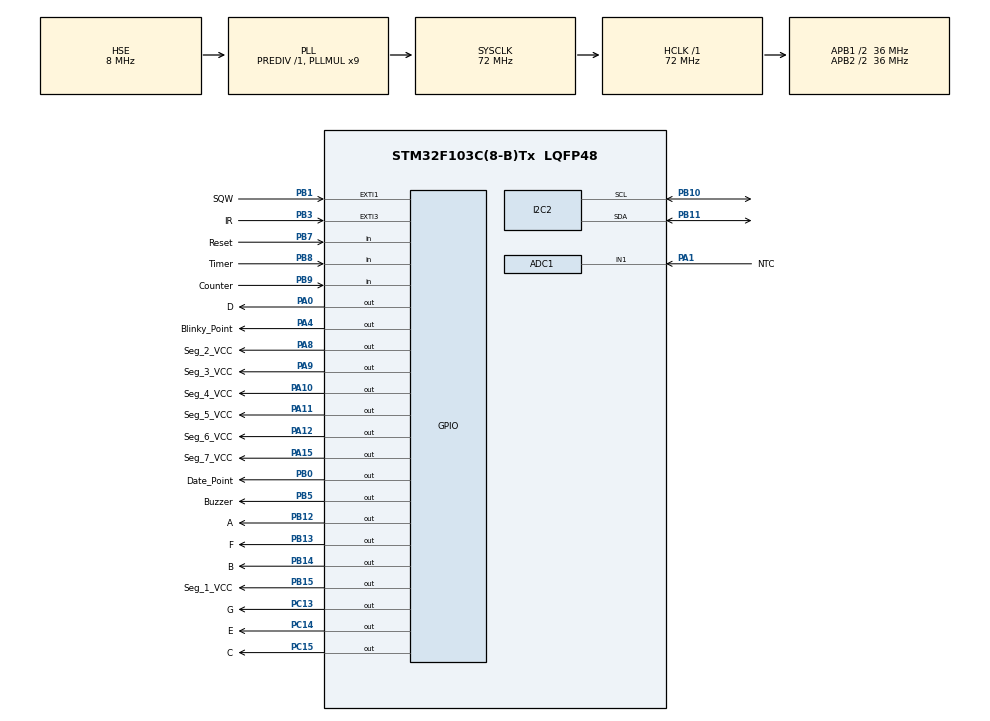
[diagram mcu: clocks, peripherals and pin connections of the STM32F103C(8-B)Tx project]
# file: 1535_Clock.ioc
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ADC1.Channel-0\#ChannelRegularConversion=ADC_CHANNEL_1
ADC1.NbrOfConversionFlag=1
ADC1.Rank-0\#ChannelRegularConversion=1
ADC1.SamplingTime-0\#ChannelRegularConversion=ADC_SAMPLETIME_1CYCLE_5
ADC1.master=1
Mcu.Family=STM32F1
Mcu.Name=STM32F103C(8-B)Tx
Mcu.Package=LQFP48
NVIC.EXTI1_IRQn=true\:0\:0\:false\:false\:true\:true\:true\:true
NVIC.EXTI3_IRQn=true\:0\:0\:false\:false\:true\:true\:true\:true
NVIC.PriorityGroup=NVIC_PRIORITYGROUP_4
NVIC.TIM2_IRQn=true\:0\:0\:false\:false\:true\:true\:true\:true
NVIC.TIM3_IRQn=true\:0\:0\:false\:false\:true\:true\:true\:true
NVIC.TIM4_IRQn=true\:0\:0\:false\:false\:true\:true\:true\:true
PA0-WKUP.GPIO_Label=D
PA0-WKUP.GPIO_Speed=GPIO_SPEED_FREQ_HIGH
PA0-WKUP.Signal=GPIO_Output
PA1.GPIO_Label=NTC
PA1.Signal=SharedAnalog_PA1
PA10.GPIO_Label=Seg_4_VCC
PA10.GPIO_Speed=GPIO_SPEED_FREQ_HIGH
PA10.Signal=GPIO_Output
PA11.GPIO_Label=Seg_5_VCC
PA11.GPIO_Speed=GPIO_SPEED_FREQ_HIGH
PA11.Signal=GPIO_Output
PA12.GPIO_Label=Seg_6_VCC
PA12.GPIO_Speed=GPIO_SPEED_FREQ_HIGH
PA12.Signal=GPIO_Output
PA13.Mode=Serial_Wire
PA13.Signal=SYS_JTMS-SWDIO
PA14.Mode=Serial_Wire
PA14.Signal=SYS_JTCK-SWCLK
PA15.GPIO_Label=Seg_7_VCC
PA15.GPIO_Speed=GPIO_SPEED_FREQ_HIGH
PA15.Signal=GPIO_Output
PA4.GPIO_Label=Blinky_Point
PA4.Signal=GPIO_Output
PA8.GPIO_Label=Seg_2_VCC
PA8.GPIO_Speed=GPIO_SPEED_FREQ_HIGH
PA8.Signal=GPIO_Output
PA9.GPIO_Label=Seg_3_VCC
PA9.GPIO_Speed=GPIO_SPEED_FREQ_HIGH
PA9.Signal=GPIO_Output
PB0.GPIO_Label=Date_Point
PB0.Signal=GPIO_Output
PB1.GPIO_Label=SQW
PB1.Signal=GPXTI1
PB10.Mode=I2C
PB10.Signal=I2C2_SCL
PB11.Mode=I2C
PB11.Signal=I2C2_SDA
PB12.GPIO_Label=A
PB12.GPIO_Speed=GPIO_SPEED_FREQ_HIGH
PB12.Signal=GPIO_Output
PB13.GPIO_Label=F
PB13.GPIO_Speed=GPIO_SPEED_FREQ_HIGH
PB13.Signal=GPIO_Output
PB14.GPIO_Label=B
PB14.GPIO_Speed=GPIO_SPEED_FREQ_HIGH
PB14.Signal=GPIO_Output
PB15.GPIO_Label=Seg_1_VCC
PB15.GPIO_Speed=GPIO_SPEED_FREQ_HIGH
PB15.Signal=GPIO_Output
PB3.GPIO_Label=IR
PB3.GPIO_ModeDefaultEXTI=GPIO_MODE_IT_FALLING
PB3.Signal=GPXTI3
PB5.GPIO_Label=Buzzer
PB5.Signal=GPIO_Output
PB7.GPIO_Label=Reset
PB7.Signal=GPIO_Input
PB8.GPIO_Label=Timer
PB8.Signal=GPIO_Input
PB9.GPIO_Label=Counter
PB9.Signal=GPIO_Input
PC13-TAMPER-RTC.GPIO_Label=G
PC13-TAMPER-RTC.GPIO_Speed=GPIO_SPEED_FREQ_HIGH
PC13-TAMPER-RTC.Signal=GPIO_Output
PC14-OSC32_IN.GPIO_Label=E
PC14-OSC32_IN.GPIO_Speed=GPIO_SPEED_FREQ_HIGH
PC14-OSC32_IN.Signal=GPIO_Output
PC15-OSC32_OUT.GPIO_Label=C
PC15-OSC32_OUT.GPIO_Speed=GPIO_SPEED_FREQ_HIGH
PC15-OSC32_OUT.Signal=GPIO_Output
PD0-OSC_IN.Mode=HSE-External-Oscillator
PD0-OSC_IN.Signal=RCC_OSC_IN
PD1-OSC_OUT.Mode=HSE-External-Oscillator
PD1-OSC_OUT.Signal=RCC_OSC_OUT
ProjectManager.HeapSize=0x200
ProjectManager.StackSize=0x400
ProjectManager.TargetToolchain=STM32CubeIDE
RCC.ADCPresc=RCC_ADCPCLK2_DIV4
RCC.AHBFreq_Value=72000000
RCC.APB1CLKDivider=RCC_HCLK_DIV2
RCC.APB1Freq_Value=36000000
RCC.APB1TimFreq_Value=72000000
RCC.APB2CLKDivider=RCC_HCLK_DIV2
RCC.APB2Freq_Value=36000000
RCC.APB2TimFreq_Value=72000000
RCC.HCLKFreq_Value=72000000
RCC.PLLMUL=RCC_PLL_MUL9
RCC.PLLSourceVirtual=RCC_PLLSOURCE_HSE
RCC.SYSCLKFreq_VALUE=72000000
RCC.SYSCLKSource=RCC_SYSCLKSOURCE_PLLCLK
RCC.USBFreq_Value=72000000
SH.SharedAnalog_PA1.0=GPIO_Analog
SH.SharedAnalog_PA1.1=ADC1_IN1,IN1
TIM2.CounterMode=TIM_COUNTERMODE_CENTERALIGNED3
TIM2.Period=499
TIM2.Prescaler=72-1
TIM3.Period=50000
TIM3.Prescaler=72-1
TIM4.Prescaler=71
VP_TIM2_VS_ClockSourceINT.Mode=Internal
VP_TIM3_VS_ClockSourceINT.Mode=Internal
VP_TIM4_VS_ClockSourceINT.Mode=Internal
board=custom

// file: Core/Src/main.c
/* USER CODE BEGIN Header */
/**
 ******************************************************************************
 * @file           : main.c
 * @brief          : Main program body
 ******************************************************************************
 * @attention
 *
 * Copyright (c) 2025 STMicroelectronics.
 * All rights reserved.
 *
 * This software is licensed under terms that can be found in the LICENSE file
 * in the root directory of this software component.
 * If no LICENSE file comes with this software, it is provided AS-IS.
 *
 ******************************************************************************
 */
/* USER CODE END Header */
#include "main.h"
#include "adc.h"
#include "i2c.h"
#include "tim.h"
#include "gpio.h"

/* USER CODE BEGIN Includes */
#include "DS3231.h"
#include "GeneralRemoote.h"
#include "Initialization.h"
#include "NTC.h"

/* USER CODE END Includes */

void SystemClock_Config(void);

int main(void)
{

  /* MCU Configuration--------------------------------------------------------*/

  /* Reset of all peripherals, Initializes the Flash interface and the Systick. */
  HAL_Init();

  /* Configure the system clock */
  SystemClock_Config();

  /* Initialize all configured peripherals */
  MX_GPIO_Init();
  MX_I2C2_Init();
  MX_TIM2_Init();
  MX_TIM3_Init();
  MX_ADC1_Init();
  MX_TIM4_Init();
  /* USER CODE BEGIN 2 */
   HAL_TIM_Base_Start_IT(&htim2);
  HAL_TIM_Base_Start_IT(&htim3);
  HAL_TIM_Base_Start_IT(&htim4);
  DS3231_ReadTime(&hi2c2,&time_Hour,&time_Minute,&time_Second);
  for (int i = 0; i < 10; i++)
  {
    Segment_Set(0,i);
    Segment_Set(1,i);
    Segment_Set(2,i);
    Segment_Set(3,i);
    Segment_Set(4,i);
    Segment_Set(5,i);
    Segment_Set(6,'N');
    HAL_Delay(200);
    HAL_GPIO_WritePin(blinky_Point,HIGH);
    HAL_GPIO_WritePin(date_Point,LOW);
  }
   Buzz(20);
  HAL_Delay(100);
  Buzz(20);

  /* USER CODE END 2 */

  /* Infinite loop */
  while (1)
  {

    /* USER CODE BEGIN 3 */

    if (work_Mode == MODE_NORMAL)
    {
      HAL_GPIO_WritePin(date_Point, LOW);
      if (tmpShow)
      {
        if (time_TmpShow < 2)
        {
          if (tempreture_read == 0)
          {
            temperature = NTC_Read();
            tempreture_read = 1;
          }
          if (tempreture_read == 1)
          {
            Segment_Set(0, temperature / 10);
            Segment_Set(1, temperature % 10);
            Segment_Set(2, 'o');
            Segment_Set(3, 'C');
            Segment_Set(4, 'N');
            Segment_Set(5, 'N');
            HAL_GPIO_WritePin(blinky_Point, LOW);
          }
        }
        else
        {
          tempreture_read = 0;
        }
      }
      if (!tempreture_read)
      {
        if (PM_Mode)
        {
          if (time_Hour > 12)
          {
            Segment_Set(0, (time_Hour - 12) / 10);
            Segment_Set(1, (time_Hour - 12) % 10);
          }
          else
          {
            Segment_Set(0, time_Hour / 10);
            Segment_Set(1, time_Hour % 10);
          }
        }
        else
        {
          Segment_Set(0, time_Hour / 10);
          Segment_Set(1, time_Hour % 10);
        }
        Segment_Set(2, time_Minute / 10);
        Segment_Set(3, time_Minute % 10);
        Segment_Set(4, time_Second / 10);
        Segment_Set(5, time_Second % 10);
        HAL_GPIO_WritePin(blinky_Point, HIGH);
      }
      Segment_Set(6, 'N');

      irRemote = Ir_GetData();
      if (irRemote != 0)
      {
        Haamin_Remote(irRemote, work_Mode);
      }
    }
    else if (work_Mode == MODE_OFF)
    {
      time_Out = 0;
      Segment_Set(0, 'N');
      Segment_Set(1, 'N');
      Segment_Set(2, 'N');
      Segment_Set(3, 'N');
      Segment_Set(4, 'N');
      Segment_Set(5, 'N');
      Segment_Set(6, 'N');

      irRemote = Ir_GetData();
      if (irRemote != 0)
      {
        Haamin_Remote(irRemote, work_Mode);
      }
    }
    else if (work_Mode == MENU)
    {
      Segment_Set(0, 'f');
      Segment_Set(1, Condition);
      Segment_Set(2, 'N');
      Segment_Set(3, 'N');
      Segment_Set(4, 'N');
      Segment_Set(5, 'N');
      Segment_Set(6, 'N');
      HAL_GPIO_WritePin(blinky_Point, LOW);

      irRemote = Ir_GetData();
      if (irRemote != 0)
      {
        Haamin_Remote(irRemote, work_Mode);
      }
    }
    else if (work_Mode == TIME_SETTING)
    {
      Segment_Set(6, 'N');
      if (time_Mode == SET_HOUR)
      {

        Segment_Set(2, time_Minute_t / 10);
        Segment_Set(3, time_Minute_t % 10);

        if (time_SecBit)
        {
          Segment_Set(0, timeValue / 10);
          Segment_Set(1, timeValue % 10);
        }
        else
        {
          Segment_Set(0, 'N');
          Segment_Set(1, 'N');
        }
      }
      else if (time_Mode == SET_MIN)
      {
        Segment_Set(0, time_Hour_t / 10);
        Segment_Set(1, time_Hour_t % 10);

        if (time_SecBit)
        {
          Segment_Set(2, timeValue / 10);
          Segment_Set(3, timeValue % 10);
        }
        else
        {
          Segment_Set(2, 'N');
          Segment_Set(3, 'N');
        }
      }

      irRemote = Ir_GetData();
      if (irRemote != 0)
      {
        Haamin_Remote(irRemote, work_Mode);
      }
    }
    else if (work_Mode == UP_TIMER)
    {
      Segment_Set(6, 'S');
      if (timer_Mode == SETTING)
      {
        Segment_Set(0, 'U');
        Segment_Set(1, 'P');
        Segment_Set(4, upTime_Second / 10);
        Segment_Set(5, upTime_Second % 10);
        if (time_SecBit)
        {
          Segment_Set(2, timer_Value / 10);
          Segment_Set(3, timer_Value % 10);
        }
        else
        {
          Segment_Set(2, 'N');
          Segment_Set(3, 'N');
        }

        irRemote = Ir_GetData();
        if (irRemote != 0)
        {
          Haamin_Remote(irRemote, work_Mode);
        }
      }

      else if (timer_Mode == MAIN_FUNCTION)
      {
        time_Out = 0;
        if (timer_StartUp)
        {
          Segment_Set(0, 'N');
          Segment_Set(1, 'N');
          Segment_Set(2, 'N');
          Segment_Set(3, 'N');
          Segment_Set(4, timer_TimeStarting / 10);
          Segment_Set(5, timer_TimeStarting % 10);
          HAL_GPIO_WritePin(blinky_Point, LOW);
        }
        else
        {
          Segment_Set(0, 'U');
          Segment_Set(1, 'P');
          Segment_Set(2, upTime_Minute / 10);
          Segment_Set(3, upTime_Minute % 10);
          Segment_Set(4, upTime_Second / 10);
          Segment_Set(5, upTime_Second % 10);
          HAL_GPIO_WritePin(blinky_Point, HIGH);
        }

        if (time_SecBit)
        {
          time_SecBit = 0;
          if ((timer_Run == 1) || (mix_Flag))
          {
            if (mix_Flag)
            {
              mix_Flag = 0;
              mix_Runnig = 1;
              timer_Run = 1;
              timer_SrUpEn = 1;
              timer_TimeStarting = 11;
            }
            if (timer_SrUpEn)
            {
              timer_StartUp = 1;
              timer_TimeStarting--;

              if (timer_TimeStarting < 4)
                Buzz(100);
              if (timer_TimeStarting < 1)
              {
                timer_SrUpEn = 0;
                timer_StartUp = 0;
                upTime_Minute = 0;
                upTime_Second = 0;
                Buzz(100);
                HAL_Delay(100);
                Buzz(100);
              }
            }
            else
            {
              if (++upTime_Second > 59)
              {
                upTime_Second = 0;
                upTime_Minute++;
                if (upTime_Minute == upTime_Minute_Defult)
                {
                  upTime_Minute = 0;
                  upTime_Second = 0;
                  timer_Run = 0;
                  if (mix_Runnig)
                  {
                    work_Mode = MIX;
                    mix_Runnig = 0;
                  }
                  Buzz(100);
                  HAL_Delay(100);
                  Buzz(100);
                  HAL_Delay(100);
                  Buzz(100);
                }
              }
            }
          }
        }
      }

      irRemote = Ir_GetData();
      if (irRemote != 0)
      {
        Haamin_Remote(irRemote, work_Mode);
      }
    }
    else if (work_Mode == DN_TIMER)
    {
      Segment_Set(6, 'u');
      if (timer_Mode == SETTING)
      {
        Segment_Set(0, 'd');
        Segment_Set(1, 'n');
        Segment_Set(4, dnTime_Second / 10);
        Segment_Set(5, dnTime_Second % 10);
        if (time_SecBit)
        {
          Segment_Set(2, timer_Value / 10);
          Segment_Set(3, timer_Value % 10);
        }
        else
        {
          Segment_Set(2, 'N');
          Segment_Set(3, 'N');
        }

        irRemote = Ir_GetData();
        if (irRemote != 0)
        {
          Haamin_Remote(irRemote, work_Mode);
        }
      }

      else if (timer_Mode == MAIN_FUNCTION)
      {
        time_Out = 0;
        if (timer_StartUp)
        {
          Segment_Set(0, 'N');
          Segment_Set(1, 'N');
          Segment_Set(2, 'N');
          Segment_Set(3, 'N');
          Segment_Set(4, timer_TimeStarting / 10);
          Segment_Set(5, timer_TimeStarting % 10);
          HAL_GPIO_WritePin(blinky_Point, LOW);
        }
        else
        {
          Segment_Set(0, 'd');
          Segment_Set(1, 'n');
          Segment_Set(2, dnTime_Minute / 10);
          Segment_Set(3, dnTime_Minute % 10);
          Segment_Set(4, dnTime_Second / 10);
          Segment_Set(5, dnTime_Second % 10);
          HAL_GPIO_WritePin(blinky_Point, HIGH);
        }

        if (time_SecBit)
        {
          time_SecBit = 0;
          if (timer_Run || mix_Flag)
          {
            if (mix_Flag)
            {
              mix_Flag = 0;
              mix_Runnig = 1;
              timer_Run = 1;
              timer_SrUpEn = 1;
              timer_TimeStarting = 11;
            }
            if (timer_SrUpEn)
            {
              timer_StartUp = 1;
              timer_TimeStarting--;

              if (timer_TimeStarting < 4)
                Buzz(100);
              if (timer_TimeStarting < 1)
              {
                timer_SrUpEn = 0;
                timer_StartUp = 0;
                dnTime_Minute = dnTime_Minute_Defult;
                dnTime_Second = 0;
                Buzz(100);
                HAL_Delay(100);
                Buzz(100);
              }
            }
            else
            {
              dnTime_Second--;
              if (dnTime_Second < 0)
              {
                dnTime_Second = 59;
                dnTime_Minute--;
                if (dnTime_Minute < 0)
                {
                  dnTime_Minute = dnTime_Minute_Defult;
                  dnTime_Second = 0;
                  timer_Run = 0;
                  if (mix_Runnig)
                  {
                    mix_Runnig = 0;
                    work_Mode = MIX;
                  }
                  Buzz(100);
                  HAL_Delay(100);
                  Buzz(100);
                  HAL_Delay(100);
                  Buzz(100);
                }
              }
            }
          }
        }
      }

      irRemote = Ir_GetData();
      if (irRemote != 0)
      {
        Haamin_Remote(irRemote, work_Mode);
      }
    }
    else if (work_Mode == TABATA)
    {
      Segment_Set(6, 'M');
      if (cross_Mode == MAIN_FUNCTION)
      {
        time_Out = 0;
        if (cross_StartUp)
        {
          Segment_Set(0, 'N');
          Segment_Set(1, 'N');
          Segment_Set(2, 'N');
          Segment_Set(3, 'N');
          Segment_Set(4, cross_TimeStarting / 10);
          Segment_Set(5, cross_TimeStarting % 10);
          HAL_GPIO_WritePin(blinky_Point, LOW);
        }
        else
        {
          Segment_Set(0, tabata_Round / 10);
          Segment_Set(1, tabata_Round % 10);
          Segment_Set(2, tabata_Act / 10);
          Segment_Set(3, tabata_Act % 10);
          Segment_Set(4, tabata_Rest / 10);
          Segment_Set(5, tabata_Rest % 10);
          HAL_GPIO_WritePin(blinky_Point, HIGH);
        }

        if (time_SecBit)
        {
          time_SecBit = 0;
          if (cross_Run || mix_Flag)
          {
            if (mix_Flag)
            {
              mix_Flag = 0;
              mix_Runnig = 1;
              cross_Run = 1;
              cross_SrUpEn = 1;
              cross_TimeStarting = 11;
            }
            if (cross_SrUpEn)
            {
              cross_StartUp = 1;
              cross_TimeStarting--;
              if (cross_TimeStarting < 4)
                Buzz(100);
              if (cross_TimeStarting < 1)
              {
                cross_TimeStarting = 11;
                cross_StartUp = 0;
                cross_SrUpEn = 0;
                tabata_Mode = ACT;
                Buzz(100);
                HAL_Delay(100);
                Buzz(100);
              }
            }
            if (tabata_Mode == ACT)
            {
              tabata_Act--;
              if (tabata_Act < 1)
              {
                tabata_Mode = REST;
                tabata_Act = tabata_Act_Def;
                Buzz(100);
                HAL_Delay(100);
                Buzz(100);
              }
            }
            else if (tabata_Mode == REST)
            {
              tabata_Rest--;
              if (tabata_Rest < 4)
                Buzz(100);
              if (tabata_Rest < 1)
              {
                tabata_Mode = ACT;
                tabata_Rest = tabata_Rest_Def;
                tabata_Round--;
                Buzz(300);
              }
            }
            if (tabata_Round < 1)
            {
              tabata_Mode = 1;
              tabata_Round = tabata_Round_Def;
              tabata_Act = tabata_Act_Def;
              tabata_Rest = tabata_Rest_Def;
              cross_Run = 0;
              cross_SrUpEn = 1;
              if (mix_Runnig)
              {
                mix_Runnig = 0;
                work_Mode = MIX;
              }
              Buzz(100);
              HAL_Delay(150);
              Buzz(100);
              HAL_Delay(150);
              Buzz(100);
            }
          }
        }
        irRemote = Ir_GetData();
        if (irRemote != 0)
        {
          Haamin_Remote(irRemote, work_Mode);
        }
      }
      else if (cross_Mode == SETTING)
      {
        time_Out = 0;
        HAL_GPIO_WritePin(blinky_Point, LOW);
        if (tabata_Mode == ROUND)
        {
          Segment_Set(2, 'N');
          Segment_Set(3, 'N');
          Segment_Set(4, 'N');
          Segment_Set(5, 'N');
          if (time_SecBit)
          {
            Segment_Set(0, cross_Value / 10);
            Segment_Set(1, cross_Value % 10);
          }
          else
          {
            Segment_Set(0, 'N');
            Segment_Set(1, 'N');
          }

          irRemote = Ir_GetData();
          if (irRemote != 0)
          {
            Haamin_Remote(irRemote, work_Mode);
          }
        }

        else if (tabata_Mode == ACT)
        {
          Segment_Set(0, 'N');
          Segment_Set(1, 'N');
          Segment_Set(4, 'N');
          Segment_Set(5, 'N');
          if (time_SecBit)
          {
            Segment_Set(2, cross_Value / 10);
            Segment_Set(3, cross_Value % 10);
          }
          else
          {
            Segment_Set(2, 'N');
            Segment_Set(3, 'N');
          }

          irRemote = Ir_GetData();
          if (irRemote != 0)
          {
            Haamin_Remote(irRemote, work_Mode);
          }
        }

        else if (tabata_Mode == REST)
        {
          Segment_Set(0, 'N');
          Segment_Set(1, 'N');
          Segment_Set(2, 'N');
          Segment_Set(3, 'N');
          if (time_SecBit)
          {
            Segment_Set(4, cross_Value / 10);
            Segment_Set(5, cross_Value % 10);
          }
          else
          {
            Segment_Set(4, 'N');
            Segment_Set(5, 'N');
          }

          irRemote = Ir_GetData();
          if (irRemote != 0)
          {
            Haamin_Remote(irRemote, work_Mode);
          }
        }
      }
    }
    else if (work_Mode == EMOM)
    {
      Segment_Set(6, 'T');
      if (cross_Mode == MAIN_FUNCTION)
      {
        time_Out = 0;
        if (cross_StartUp)
        {
          Segment_Set(0, 'N');
          Segment_Set(1, 'N');
          Segment_Set(2, 'N');
          Segment_Set(3, 'N');
          Segment_Set(4, cross_TimeStarting / 10);
          Segment_Set(5, cross_TimeStarting % 10);
          HAL_GPIO_WritePin(blinky_Point, LOW);
        }
        else
        {
          Segment_Set(0, emom_Round / 10);
          Segment_Set(1, emom_Round % 10);
          Segment_Set(2, emom_Time / 10);
          Segment_Set(3, emom_Time % 10);
          Segment_Set(4, emom_Act / 10);
          Segment_Set(5, emom_Act % 10);
          HAL_GPIO_WritePin(blinky_Point, HIGH);
        }

        if (time_SecBit)
        {
          time_SecBit = 0;
          if (cross_Run || mix_Flag)
          {
            if (mix_Flag)
            {
              mix_Flag = 0;
              mix_Runnig = 1;
              cross_Run = 1;
              cross_SrUpEn = 1;
              cross_TimeStarting = 11;
            }
            if (cross_SrUpEn)
            {
              cross_StartUp = 1;
              cross_TimeStarting--;
              if (cross_TimeStarting < 4)
                Buzz(100);
              if (cross_TimeStarting < 1)
              {
                cross_TimeStarting = 11;
                cross_StartUp = 0;
                cross_SrUpEn = 0;
                emom_Mode = ACT;
                emom_Time_tmp = emom_Time * 60;
                Buzz(100);
                HAL_Delay(100);
                Buzz(100);
              }
            }
            if (emom_Mode == ACT)
            {
              emom_Time_tmp--;
              emom_Act--;
              if (emom_Time_tmp % 60 == 0)
                emom_Time--;
              if (emom_Act < 4)
                Buzz(100);
              if (emom_Act < 1)
              {
                tabata_Mode = REST;
                emom_Act = emom_Act_Def;
                emom_Round--;
                Buzz(100);
              }
            }

            if (emom_Round < 1)
            {
              emom_Mode = 1;
              emom_Round = emom_Round_Def;
              emom_Act = emom_Act_Def;
              emom_Time = emom_Time_Def;
              emom_Time_tmp = (emom_Time * 60);
              cross_Run = 0;
              cross_SrUpEn = 1;
              cross_TimeStarting = 11;
              if (mix_Runnig)
              {
                mix_Runnig = 0;
                work_Mode = MIX;
              }
              Buzz(100);
              HAL_Delay(150);
              Buzz(100);
              HAL_Delay(150);
              Buzz(100);
            }
          }
        }

        irRemote = Ir_GetData();
        if (irRemote != 0)
        {
          Haamin_Remote(irRemote, work_Mode);
        }
      }
      else if (cross_Mode == SETTING)
      {
        time_Out = 0;
        HAL_GPIO_WritePin(blinky_Point, LOW);
        if (emom_Mode == ROUND)
        {
          Segment_Set(2, 'N');
          Segment_Set(3, 'N');
          Segment_Set(4, 'N');
          Segment_Set(5, 'N');
          if (time_SecBit)
          {
            Segment_Set(0, cross_Value / 10);
            Segment_Set(1, cross_Value % 10);
          }
          else
          {
            Segment_Set(0, 'N');
            Segment_Set(1, 'N');
          }

          irRemote = Ir_GetData();
          if (irRemote != 0)
          {
            Haamin_Remote(irRemote, work_Mode);
          }
        }

        else if (emom_Mode == ACT)
        {
          Segment_Set(0, 'N');
          Segment_Set(1, 'N');
          Segment_Set(4, 'N');
          Segment_Set(5, 'N');
          if (time_SecBit)
          {
            Segment_Set(2, cross_Value / 10);
            Segment_Set(3, cross_Value % 10);
          }
          else
          {
            Segment_Set(2, 'N');
            Segment_Set(3, 'N');
          }

          irRemote = Ir_GetData();
          if (irRemote != 0)
          {
            Haamin_Remote(irRemote, work_Mode);
          }
        }
      }
    }
    else if (work_Mode == AMRAP)
    {
      Segment_Set(6, 'W');
      if (cross_Mode == MAIN_FUNCTION)
      {
        time_Out = 0;
        if (cross_StartUp)
        {
          Segment_Set(0, 'N');
          Segment_Set(1, 'N');
          Segment_Set(2, 'N');
          Segment_Set(3, 'N');
          Segment_Set(4, cross_TimeStarting / 10);
          Segment_Set(5, cross_TimeStarting % 10);
          HAL_GPIO_WritePin(blinky_Point, LOW);
        }
        else
        {
          Segment_Set(0, 'A');
          Segment_Set(1, 'r');
          Segment_Set(2, amrap_Minute / 10);
          Segment_Set(3, amrap_Minute % 10);
          Segment_Set(4, amrap_Second / 10);
          Segment_Set(5, amrap_Second % 10);
          HAL_GPIO_WritePin(blinky_Point, HIGH);
        }
        if (time_SecBit)
        {
          time_SecBit = 0;
          if (cross_Run || mix_Flag)
          {
            if (mix_Flag)
            {
              mix_Flag = 0;
              mix_Runnig = 1;
              cross_Run = 1;
              cross_SrUpEn = 1;
              cross_TimeStarting = 11;
              amrap_Minute = amrap_Minute_Def;
              amrap_Second = amrap_Second_Def;
            }
            if (cross_SrUpEn)
            {
              cross_StartUp = 1;
              cross_TimeStarting--;
              if (cross_TimeStarting < 4)
                Buzz(100);
              if (cross_TimeStarting < 1)
              {
                cross_TimeStarting = 11;
                cross_StartUp = 0;
                cross_SrUpEn = 0;
                amrap_Act = 1;
                Buzz(100);
                HAL_Delay(100);
                Buzz(100);
              }
            }
            if (amrap_Act)
            {
              amrap_Second--;
              if (amrap_Second == 0)
              {
                amrap_Second = 59;
                amrap_Minute--;
                if (amrap_Minute < 0)
                {
                  amrap_Minute = amrap_Minute_Def;
                  amrap_Second = amrap_Second_Def;
                  cross_Run = 0;
                  cross_SrUpEn = 1;
                  cross_TimeStarting = 11;
                  amrap_Act = 0;
                  if (mix_Runnig)
                  {
                    mix_Runnig = 0;
                    work_Mode = MIX;
                  }
                  Buzz(100);
                  HAL_Delay(150);
                  Buzz(100);
                  HAL_Delay(150);
                  Buzz(100);
                }
              }
            }
          }
        }

        irRemote = Ir_GetData();
        if (irRemote != 0)
        {
          Haamin_Remote(irRemote, work_Mode);
        }
      }
      else if (cross_Mode == SETTING)
      {
        time_Out = 0;
        HAL_GPIO_WritePin(blinky_Point, LOW);
        if (amrap_Mode == SET_MIN)
        {
          Segment_Set(0, 'A');
          Segment_Set(1, 'r');
          Segment_Set(4, 'N');
          Segment_Set(5, 'N');

          if (time_SecBit)
          {
            Segment_Set(2, cross_Value / 10);
            Segment_Set(3, cross_Value % 10);
          }
          else
          {
            Segment_Set(2, 'N');
            Segment_Set(3, 'N');
          }
          irRemote = Ir_GetData();
          if (irRemote != 0)
          {
            Haamin_Remote(irRemote, work_Mode);
          }
        }
        else if (amrap_Mode == SET_SEC)
        {
          Segment_Set(0, 'A');
          Segment_Set(1, 'r');
          Segment_Set(2, 'N');
          Segment_Set(3, 'N');

          if (time_SecBit)
          {
            Segment_Set(4, cross_Value / 10);
            Segment_Set(5, cross_Value % 10);
          }
          else
          {
            Segment_Set(4, 'N');
            Segment_Set(5, 'N');
          }
          irRemote = Ir_GetData();
          if (irRemote != 0)
          {
            Haamin_Remote(irRemote, work_Mode);
          }
        }
      }
    }
    else if (work_Mode == SET_MIX)
    {
      Segment_Set(0, 'N');
      Segment_Set(1, 'N');
      Segment_Set(6, 't');
      if (cross_Mode == MAIN_FUNCTION)
      {
        time_Out = 0;
        HAL_GPIO_WritePin(blinky_Point, LOW);
        Segment_Set(2, 'N');
        Segment_Set(3, 'N');
        Segment_Set(4, 'f');
        Segment_Set(5, first_Set);
        irRemote = Ir_GetData();
        if (irRemote != 0)
        {
          Haamin_Remote(irRemote, work_Mode);
        }
      }
      else if (cross_Mode == SETTING)
      {
        if (mix_Step == PART_1)
        {
          Segment_Set(2, 'N');
          Segment_Set(3, 'N');
          HAL_GPIO_WritePin(blinky_Point, LOW);
          if (time_SecBit)
          {
            Segment_Set(4, 'f');
            Segment_Set(5, first_Set);
          }
          else
          {
            Segment_Set(4, 'N');
            Segment_Set(5, 'N');
          }
          if ((cross_Value >= 1) && (cross_Value <= 5))
            first_Set = cross_Value;
        }
        else if (mix_Step == PART_2)
        {
          HAL_GPIO_WritePin(blinky_Point, HIGH);
          if (mix_Mode == SET_MIN)
          {
            Segment_Set(4, mix_Second / 10);
            Segment_Set(5, mix_Second / 10);
            if (time_SecBit)
            {
              Segment_Set(2, cross_Value / 10);
              Segment_Set(3, cross_Value % 10);
            }
            else
            {
              Segment_Set(2, 'N');
              Segment_Set(3, 'N');
            }
          }
          else if (mix_Mode == SET_SEC)
          {
            Segment_Set(2, mix_Minute / 10);
            Segment_Set(3, mix_Minute % 10);
            if (time_SecBit)
            {
              Segment_Set(4, cross_Value / 10);
              Segment_Set(5, cross_Value % 10);
            }
            else
            {
              Segment_Set(4, 'N');
              Segment_Set(5, 'N');
            }
          }
        }
        else if (mix_Step == PART_3)
        {
          HAL_GPIO_WritePin(blinky_Point, LOW);
          Segment_Set(2, 'N');
          Segment_Set(3, 'N');
          if (time_SecBit)
          {
            Segment_Set(4, 'f');
            Segment_Set(5, second_Set);
          }
          else
          {
            Segment_Set(4, 'N');
            Segment_Set(5, 'N');
          }

          if ((cross_Value >= 1) && (cross_Value <= 5))
            second_Set = cross_Value;
        }

        irRemote = Ir_GetData();
        if (irRemote != 0)
        {
          Haamin_Remote(irRemote, work_Mode);
        }
      }
    }
    else if (work_Mode == MIX)
    {
      time_Out = 0;
      if (mix_Step == PART_1)
      {
        mix_Step = PART_2;
        mix_Flag = 1;
        switch (first_Set)
        {
        case 1:
          work_Mode = UP_TIMER;
          break;
        case 2:
          work_Mode = DN_TIMER;
          break;
        case 3:
          work_Mode = TABATA;
          break;
        case 4:
          work_Mode = EMOM;
          break;
        case 5:
          work_Mode = AMRAP;
          break;
        default:
          break;
        }
        cross_Mode = MAIN_FUNCTION;
        timer_Mode = MAIN_FUNCTION;
        Buzz(100);
      }
      else if (mix_Step == PART_2)
      {
        Segment_Set(0, 'N');
        Segment_Set(1, 'N');
        Segment_Set(2, mix_Minute / 10);
        Segment_Set(3, mix_Minute % 10);
        Segment_Set(4, mix_Second / 10);
        Segment_Set(5, mix_Second % 10);
        mix_Flag = 0;

        if (time_SecBit)
        {
          time_SecBit = 0;
          if (--mix_Second < 0)
          {
            mix_Second = 59;
            if (--mix_Minute < 0)
            {
              mix_Minute = 0;
              mix_Second = 0;
              mix_Step = 3;
              Buzz(100);
              HAL_Delay(100);
              Buzz(100);
              HAL_Delay(100);
              Buzz(100);
            }
          }
        }

        irRemote = Ir_GetData();
        if (irRemote != 0)
        {
          Haamin_Remote(irRemote, work_Mode);
        }
      }
      else if (mix_Step == PART_3)
      {
        mix_Step = 0;
        mix_Flag = 1;
        switch (second_Set)
        {
        case 1:
          work_Mode = UP_TIMER;
          break;
        case 2:
          work_Mode = DN_TIMER;
          break;
        case 3:
          work_Mode = TABATA;
          break;
        case 4:
          work_Mode = EMOM;
          break;
        case 5:
          work_Mode = AMRAP;
          break;
        default:
          break;
        }
        Buzz(100);
      }
      else
      {
        work_Mode = SET_MIX;
        cross_Mode = MAIN_FUNCTION;
        Buzz(200);
        HAL_Delay(100);
      }
      Segment_Set(6, 't');
    }
    else if (work_Mode == TIMER_COUNTER)
    {
      Segment_Set(6, 'F');
      if(HAL_GPIO_ReadPin(Counter_GPIO_Port,Counter_Pin) == GPIO_PIN_RESET)
      {
        HAL_Delay(50);
        if(HAL_GPIO_ReadPin(Counter_GPIO_Port,Counter_Pin)== GPIO_PIN_RESET)
        {
          counter_Value++;
          if(counter_Value > 999999)
          {
            counter_Value = 0;
          }
          Buzz(50);
        }while(HAL_GPIO_ReadPin(Counter_GPIO_Port,Counter_Pin) == GPIO_PIN_RESET);
      }

      if(HAL_GPIO_ReadPin(Timer_GPIO_Port,Timer_Pin)== GPIO_PIN_RESET)
      {
        HAL_Delay(50);
        if(HAL_GPIO_ReadPin(Timer_GPIO_Port,Timer_Pin)== GPIO_PIN_RESET)
        {
          timer_Run = !timer_Run;
          Buzz(50);
        }while(HAL_GPIO_ReadPin(Timer_GPIO_Port,Timer_Pin) == GPIO_PIN_RESET);
      }

      if(HAL_GPIO_ReadPin(Reset_GPIO_Port,Reset_Pin)== GPIO_PIN_RESET)
      {
        HAL_Delay(50);
        if(HAL_GPIO_ReadPin(Reset_GPIO_Port,Reset_Pin)== GPIO_PIN_RESET)
        {
          counter_Value = 0;
          timer_Second = 0;
          timer_mili_Second = 0;
          timer_Run = 0;
          Buzz(100);HAL_Delay(50);Buzz(100);
        }while(HAL_GPIO_ReadPin(Reset_GPIO_Port,Reset_Pin)== GPIO_PIN_RESET);
      }

      Segment_Set(0,timer_Second/10);
      Segment_Set(1,timer_Second%10);
      Segment_Set(2,timer_mili_Second/10);
      Segment_Set(3,timer_mili_Second%10);
      Segment_Set(4,(counter_Value/10));
      Segment_Set(5,counter_Value%10);

      irRemote = Ir_GetData();
      if (irRemote != 0)
      {
        Haamin_Remote(irRemote, work_Mode);
      }

    }
  }
  /* USER CODE END 3 */
}

void SystemClock_Config(void)
{
  RCC_OscInitTypeDef RCC_OscInitStruct = {0};
  RCC_ClkInitTypeDef RCC_ClkInitStruct = {0};
  RCC_PeriphCLKInitTypeDef PeriphClkInit = {0};

  /** Initializes the RCC Oscillators according to the specified parameters
  * in the RCC_OscInitTypeDef structure.
  */
  RCC_OscInitStruct.OscillatorType = RCC_OSCILLATORTYPE_HSE;
  RCC_OscInitStruct.HSEState = RCC_HSE_ON;
  RCC_OscInitStruct.HSEPredivValue = RCC_HSE_PREDIV_DIV1;
  RCC_OscInitStruct.HSIState = RCC_HSI_ON;
  RCC_OscInitStruct.PLL.PLLState = RCC_PLL_ON;
  RCC_OscInitStruct.PLL.PLLSource = RCC_PLLSOURCE_HSE;
  RCC_OscInitStruct.PLL.PLLMUL = RCC_PLL_MUL9;
  if (HAL_RCC_OscConfig(&RCC_OscInitStruct) != HAL_OK)
  {
    Error_Handler();
  }

  /** Initializes the CPU, AHB and APB buses clocks
  */
  RCC_ClkInitStruct.ClockType = RCC_CLOCKTYPE_HCLK|RCC_CLOCKTYPE_SYSCLK
                              |RCC_CLOCKTYPE_PCLK1|RCC_CLOCKTYPE_PCLK2;
  RCC_ClkInitStruct.SYSCLKSource = RCC_SYSCLKSOURCE_PLLCLK;
  RCC_ClkInitStruct.AHBCLKDivider = RCC_SYSCLK_DIV1;
  RCC_ClkInitStruct.APB1CLKDivider = RCC_HCLK_DIV2;
  RCC_ClkInitStruct.APB2CLKDivider = RCC_HCLK_DIV2;

  if (HAL_RCC_ClockConfig(&RCC_ClkInitStruct, FLASH_LATENCY_2) != HAL_OK)
  {
    Error_Handler();
  }
  PeriphClkInit.PeriphClockSelection = RCC_PERIPHCLK_ADC;
  PeriphClkInit.AdcClockSelection = RCC_ADCPCLK2_DIV4;
  if (HAL_RCCEx_PeriphCLKConfig(&PeriphClkInit) != HAL_OK)
  {
    Error_Handler();
  }
}

/* USER CODE BEGIN 4 */

void Time_Update(void)
{
  if(work_Mode == TIMER_COUNTER)
  {
    if(timer_Run)
    {
      timer_mili_Second = 0;
      if(++timer_Second > 99)
      {
        timer_Second = 0;
      }
    }
  }
  else
  {
    if (++time_Second > 59)
    {
      time_Second = 0;
      if (++time_Minute > 59)
      {
        time_Minute = 0;

        if (++time_Hour > 23)
          time_Hour = 0;
      }
    }
    if (++time_TmpShow > 30)
    {
      time_TmpShow = 0;
    }
    if (++time_DateShow > 30)
    {
      time_DateShow = 0;
    }

    if (time_SecBit)
      time_SecBit = 0;
    else
      time_SecBit = 1;

    if (++time_Out > 90)
    {
      time_Out = 0;
      if (work_Mode != MODE_NORMAL)
      {
        DS3231_ReadTime(&hi2c2, &time_Hour, &time_Minute, &time_Second);
        work_Mode = MODE_NORMAL;
        // Buzz(50);
      }
    }
  }

}

void TimerCounter_Mode(void)
{
  if(timer_Run)
  {
    if(++timer_mili_Second > 99)
    {
        timer_mili_Second = 0;
        if(++timer_Second > 99)
          timer_Second = 0;
    }
  }
}
/* USER CODE END 4 */

void Error_Handler(void)
{
  __disable_irq();
  while (1)
  {
  }
}
